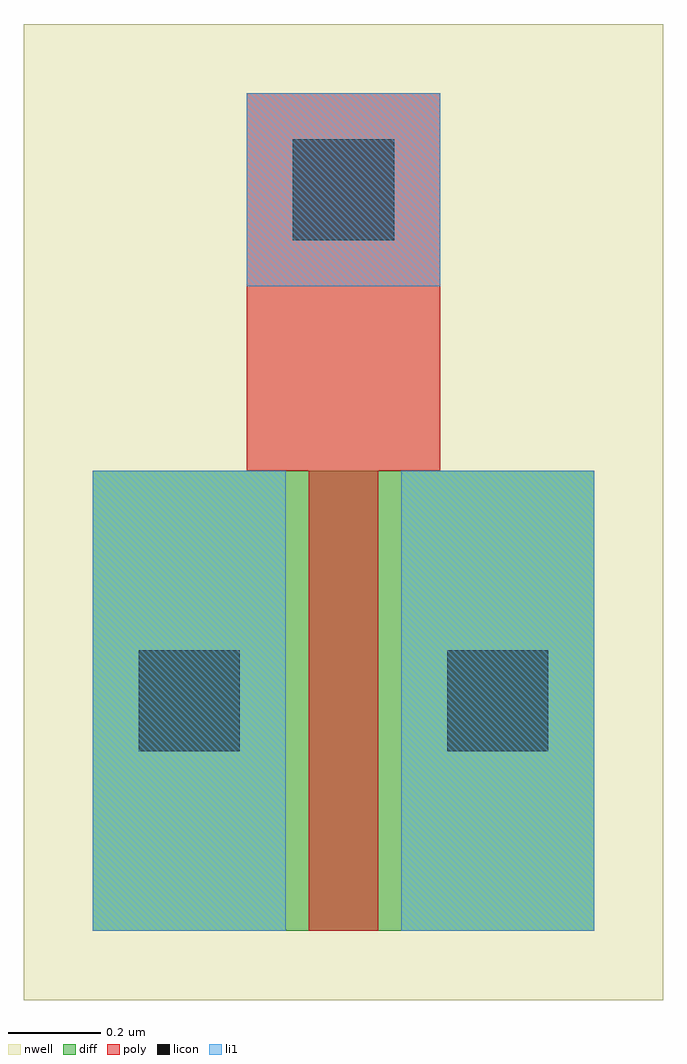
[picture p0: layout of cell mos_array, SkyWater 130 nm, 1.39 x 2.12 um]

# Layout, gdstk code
import gdstk
lib = gdstk.Library(unit=1e-6, precision=1e-09)
def R(c, l, rs):  # rectangles x0, y0, x1, y1
    for r in rs: c.add(gdstk.rectangle(r[:2], r[2:], *l))
nwell = (64, 20)
diff = (65, 20)
poly = (66, 20)
licon = (66, 44)
li1 = (67, 20)

mos_array = lib.new_cell('mos_array')
R(mos_array, nwell, [(-0.15,-0.15,1.24,1.97)])
R(mos_array, diff, [(0,0,1.09,1)])
R(mos_array, poly, [(0.47,0,0.62,1), (0.335,1,0.755,1.82)])
R(mos_array, licon, [(0.1,0.39,0.32,0.61), (0.77,0.39,0.99,0.61), (0.435,1.5,0.655,1.72)])
R(mos_array, li1, [(0,0,0.42,1), (0.67,0,1.09,1), (0.335,1.4,0.755,1.82)])

lib.write_gds('mos_array.gds')
